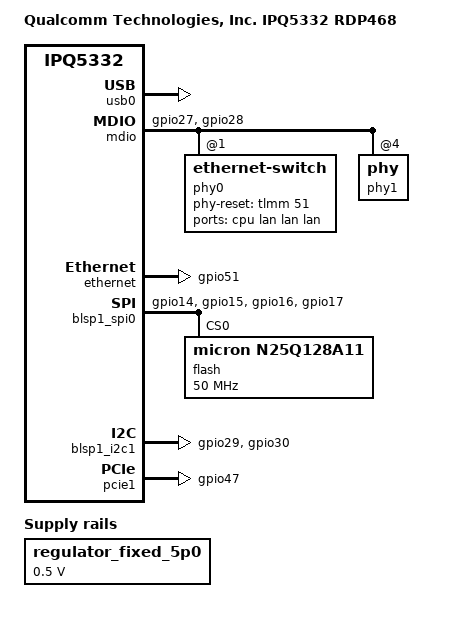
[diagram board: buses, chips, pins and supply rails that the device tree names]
// SPDX-License-Identifier: GPL-2.0-only
/*
 * Copyright (c) Qualcomm Technologies, Inc. and/or its subsidiaries.
 */

/dts-v1/;

#include "ipq5332-rdp468.dts"
#include "ipq5332-rdp-common-ub.dtsi"

/ {
	model = "Qualcomm Technologies, Inc. IPQ5332 RDP468";
	compatible = "qcom,ipq5332-rdp468", "qcom,ipq5332";

	regulator_fixed_5p0: regulator-s0500 {
		compatible = "regulator-fixed";
		regulator-min-microvolt = <500000>;
		regulator-max-microvolt = <500000>;
		regulator-boot-on;
		regulator-always-on;
		regulator-name = "fixed_5p0";
	};

	soc@0{
		ss_uniphy_0: ss_uniphy@4b0000 {
			qcom,multiplexed-phy;
			status = "okay";
		};

		hs_m31phy_0: hs_m31phy@7b000 {
			status = "okay";
		};

		usb0: usb@8af8800 {
			status = "okay";

			dwc3@8a00000 {
				phys = <&hs_m31phy_0>, <&ss_uniphy_0>;
				phy-names = "usb2-phy", "usb3-phy";
				maximum-speed = "super-speed";
			};
		};

		mdio: mdio@90000 {
			pinctrl-names = "default";
			pinctrl-0 = <&mdio_pinmux>;
			status = "okay";

			phy0: ethernet-switch@1 {
				phy-reset-gpio = <&tlmm 51 0>;
				dev-mode = <0x2>;
				phy_addr = <1>;
				phy_type = <QCA8x8x_SWITCH_TYPE>;
				id = <1>;
				uniphy_id = <0>;
				uniphy_type = <0>;
				max_speed = <2500>;
				force-speed;
				xgmac;
				ports {
					#address-cells = <1>;
					#size-cells = <0>;

					port0: port@0 {
						phy_addr = <0>;
						label = "cpu";
						phy-mode = "2500base-x";
						fixed-link {
							speed = <2500>;
							full-duplex;
						};
					};

					port1: port@1 {
						phy_addr = <1>;
						label = "lan";
					};

					port2: port@2 {
						phy_addr = <2>;
						label = "lan";
					};

					port3: port@3 {
						phy_addr = <3>;
						label = "lan";
					};
				};
			};

			phy1: phy@4 {
				phy_addr = <4>;
				phy_type = <QCA8x8x_BYPASS_TYPE>;
				id = <2>;
				uniphy_id = <1>;
				uniphy_type = <0>;
				max_speed = <2500>;
				xgmac;
			};
		};

		ethernet: nss-switch {
			pinctrl-names = "default";
			pinctrl-0 = <&phy_rst_pinmux>;
			phy-handle0 = <&phy0>;
			phy-handle1 = <&phy1>;
			50mhz = <1>;
			status = "okay";
		};

	};
};

&blsp1_spi0 {
	pinctrl-0 = <&spi_0_data_clk_pins &spi_0_cs_pins>;
	pinctrl-names = "default";
	status = "okay";

	flash@0 {
		compatible = "micron,n25q128a11", "jedec,spi-nor";
		reg = <0>;
		#address-cells = <1>;
		#size-cells = <1>;
		spi-max-frequency = <50000000>;
	};
};

/* PINCTRL */

&tlmm {

	mdio_pinmux: mdio {
		mdc {
			pins = "gpio27";
			function = "mdc1";
			drive-strength = <8>;
			bias-disable;
		};

		mdio {
			pins = "gpio28";
			function = "mdio1";
			drive-strength = <8>;
			bias-pull-up;
		};
	};

	phy_rst_pinmux: phy_rst {
		qti_8x8x_rst {
			pins = "gpio51";
			drive-strength = <8>;
			bias-pull-up;
		};
	};

	spi_0_data_clk_pins: spi-0-data-clk-state {
		pins = "gpio14", "gpio15", "gpio16";
		function = "blsp0_spi";
		drive-strength = <2>;
		bias-pull-down;
	};

	spi_0_cs_pins: spi-0-cs-state {
		pins = "gpio17";
		function = "blsp0_spi";
		drive-strength = <2>;
		bias-pull-up;
	};

	blsp1_i2c1_pinmux: blsp1_i2c1_pins {
		blsp1_scl {
			pins = "gpio29";
			function = "blsp1_i2c0";
			drive-strength = <8>;
			bias-pull-up;
		};

		blsp1_sda {
			pins = "gpio30";
			function = "blsp1_i2c0";
			drive-strength = <8>;
			bias-pull-up;
		};
	};

	pcie1_default_state: pcie1-default-state {
		pins = "gpio47";
		function = "gpio";
		drive-strength = <8>;
		bias-pull-up;
		output-low;
	};
};

&blsp1_i2c1 {
	pinctrl-names = "default";
	pinctrl-0 = <&blsp1_i2c1_pinmux>;
	status = "okay";
};

&pcie1 {
	pinctrl-0 = <&pcie1_default_state>;
	pinctrl-names = "default";
	perst-gpios = <&tlmm 47 GPIO_ACTIVE_LOW>;
	status = "okay";
};
